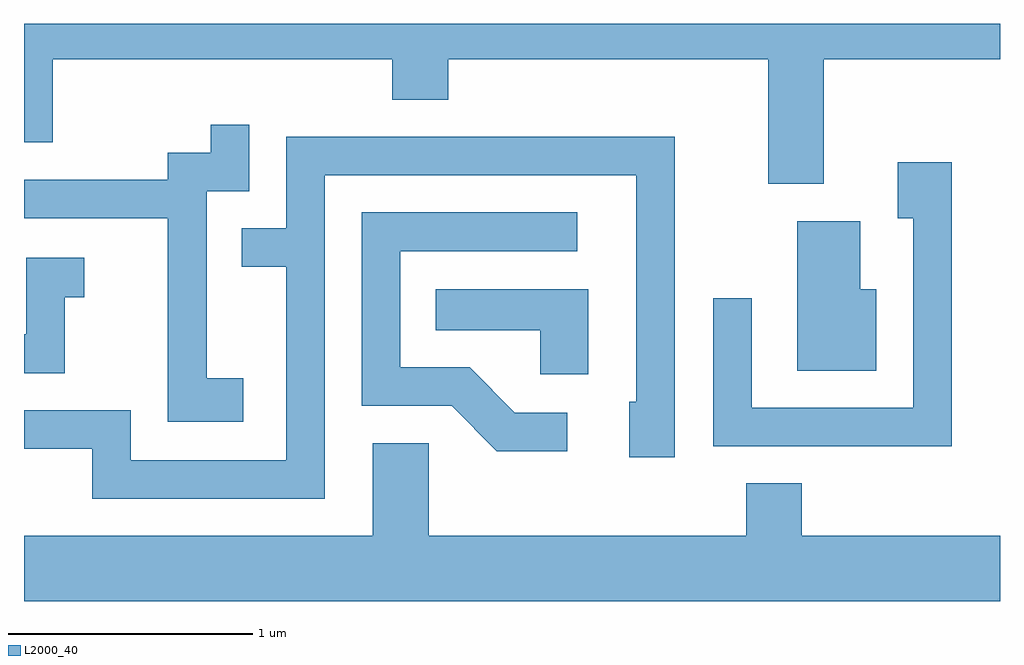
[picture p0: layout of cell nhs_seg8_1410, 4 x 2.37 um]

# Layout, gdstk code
import gdstk
lib = gdstk.Library(unit=1e-6, precision=1e-09)
def P(c, l, *ps):  # polygons
    for p in ps: c.add(gdstk.Polygon(p, *l))
L2000_40 = (2000, 40)

nhs_seg8_1410 = lib.new_cell('nhs_seg8_1410')
P(nhs_seg8_1410, L2000_40, [(230.889,1834.196),(231.611,1834.196),(231.611,1834.342),(227.611,1834.342),(227.611,1833.856),(227.729,1833.856),(227.729,1834.196),(229.121,1834.196),(229.121,1834.031),(229.349,1834.031),(229.349,1834.196),(230.661,1834.196),(230.661,1833.686),(230.889,1833.686)],
  [(228.509,1832.889),(228.359,1832.889),(228.359,1833.656),(228.534,1833.656),(228.534,1833.928),(228.376,1833.928),(228.376,1833.814),(228.201,1833.814),(228.201,1833.704),(227.611,1833.704),(227.611,1833.546),(228.201,1833.546),(228.201,1832.711),(228.509,1832.711)],
  [(228.844,1833.721),(230.121,1833.721),(230.121,1832.794),(230.091,1832.794),(230.091,1832.566),(230.279,1832.566),(230.279,1833.879),(228.686,1833.879),(228.686,1833.504),(228.503,1833.504),(228.503,1833.346),(228.686,1833.346),(228.686,1832.554),(228.049,1832.554),(228.049,1832.759),(227.611,1832.759),(227.611,1832.601),(227.891,1832.601),(227.891,1832.396),(228.844,1832.396)],
  [(231.414,1833.774),(231.191,1833.774),(231.191,1833.546),(231.256,1833.546),(231.256,1832.769),(230.594,1832.769),(230.594,1833.218),(230.436,1833.218),(230.436,1832.611),(231.414,1832.611)],
  [(229.838,1832.749),(229.622,1832.749),(229.437,1832.934),(229.154,1832.934),(229.154,1833.411),(229.878,1833.411),(229.878,1833.569),(228.996,1833.569),(228.996,1832.776),(229.364,1832.776),(229.549,1832.591),(229.838,1832.591)],
  [(231.104,1833.254),(231.039,1833.254),(231.039,1833.534),(230.781,1833.534),(230.781,1832.921),(231.104,1832.921)],
  [(227.779,1833.221),(227.858,1833.221),(227.858,1833.384),(227.621,1833.384),(227.621,1833.069),(227.611,1833.069),(227.611,1832.911),(227.779,1832.911)],
  [(229.924,1833.254),(229.298,1833.254),(229.298,1833.086),(229.726,1833.086),(229.726,1832.906),(229.924,1832.906)],
  [(231.611,1832.244),(230.799,1832.244),(230.799,1832.459),(230.571,1832.459),(230.571,1832.244),(229.269,1832.244),(229.269,1832.624),(229.041,1832.624),(229.041,1832.244),(227.611,1832.244),(227.611,1831.976),(231.611,1831.976)])

lib.write_gds('nhs_seg8_1410.gds')
